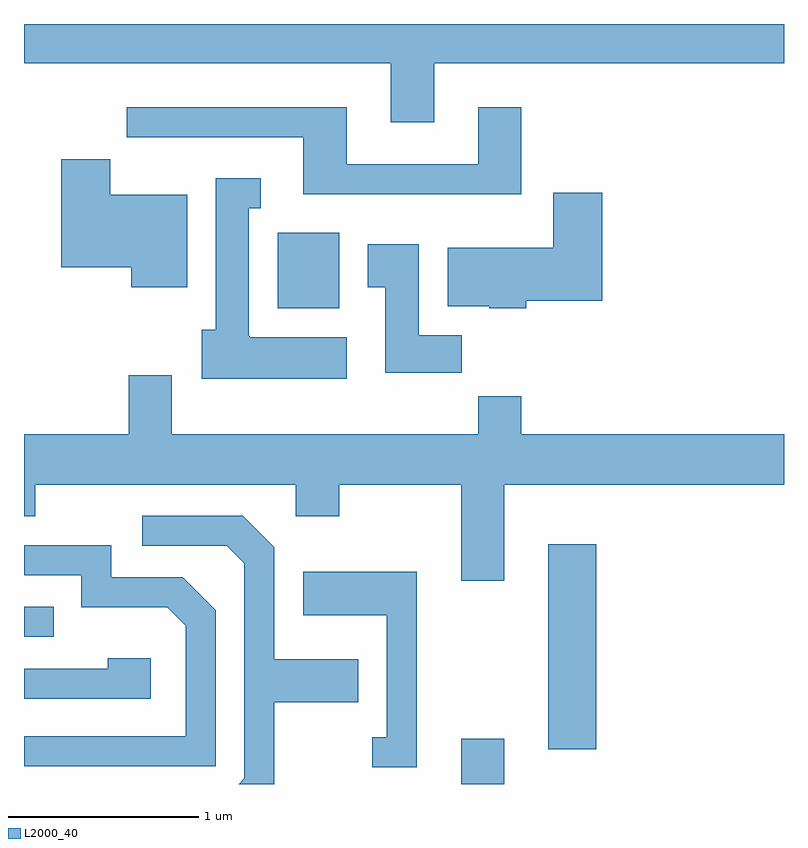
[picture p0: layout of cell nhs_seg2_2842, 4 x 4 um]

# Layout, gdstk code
import gdstk
lib = gdstk.Library(unit=1e-6, precision=1e-09)
def R(c, l, rs):  # rectangles x0, y0, x1, y1
    for r in rs: c.add(gdstk.rectangle(r[:2], r[2:], *l))
def P(c, l, *ps):  # polygons
    for p in ps: c.add(gdstk.Polygon(p, *l))
L2000_40 = (2000, 40)

nhs_seg2_2842 = lib.new_cell('nhs_seg2_2842')
R(nhs_seg2_2842, L2000_40, [(269.911,1097.802,270.139,1098.039), (270.371,1097.986,270.624,1099.064), (267.611,1098.576,267.768,1098.734), (268.946,1100.306,269.269,1100.704)])
P(nhs_seg2_2842, L2000_40, [(269.769,1101.596),(271.611,1101.596),(271.611,1101.802),(267.611,1101.802),(267.611,1101.596),(269.541,1101.596),(269.541,1101.286),(269.769,1101.286)],
  [(270.229,1101.364),(270.001,1101.364),(270.001,1101.064),(269.309,1101.064),(269.309,1101.364),(268.153,1101.364),(268.153,1101.206),(269.081,1101.206),(269.081,1100.906),(270.229,1100.906)],
  [(268.469,1100.904),(268.064,1100.904),(268.064,1101.089),(267.806,1101.089),(267.806,1100.521),(268.176,1100.521),(268.176,1100.416),(268.469,1100.416)],
  [(269.309,1100.154),(268.8,1100.154),(268.8,1100.16),(268.794,1100.16),(268.794,1100.831),(268.858,1100.831),(268.858,1100.989),(268.621,1100.989),(268.621,1100.194),(268.546,1100.194),(268.546,1099.936),(269.309,1099.936)],
  [(270.254,1100.346),(270.654,1100.346),(270.654,1100.914),(270.396,1100.914),(270.396,1100.624),(269.841,1100.624),(269.841,1100.316),(270.06,1100.316),(270.06,1100.306),(270.254,1100.306)],
  [(269.914,1100.164),(269.689,1100.164),(269.689,1100.644),(269.421,1100.644),(269.421,1100.416),(269.511,1100.416),(269.511,1099.966),(269.914,1099.966)],
  [(270.139,1099.376),(271.611,1099.376),(271.611,1099.644),(270.229,1099.644),(270.229,1099.844),(270.001,1099.844),(270.001,1099.644),(268.389,1099.644),(268.389,1099.954),(268.161,1099.954),(268.161,1099.644),(267.611,1099.644),(267.611,1099.211),(267.669,1099.211),(267.669,1099.376),(269.041,1099.376),(269.041,1099.211),(269.269,1099.211),(269.269,1099.376),(269.911,1099.376),(269.911,1098.871),(270.139,1098.871)],
  [(268.929,1098.231),(269.369,1098.231),(269.369,1098.459),(268.929,1098.459),(268.929,1099.047),(268.762,1099.214),(268.233,1099.214),(268.233,1099.056),(268.679,1099.056),(268.771,1098.964),(268.771,1097.832),(268.741,1097.802),(268.929,1097.802)],
  [(268.619,1098.717),(268.447,1098.889),(268.069,1098.889),(268.069,1099.059),(267.611,1099.059),(267.611,1098.901),(267.911,1098.901),(267.911,1098.731),(268.364,1098.731),(268.461,1098.634),(268.461,1098.054),(267.611,1098.054),(267.611,1097.896),(268.619,1097.896)],
  [(269.679,1098.919),(269.081,1098.919),(269.081,1098.691),(269.521,1098.691),(269.521,1098.049),(269.443,1098.049),(269.443,1097.891),(269.679,1097.891)],
  [(268.279,1098.464),(268.051,1098.464),(268.051,1098.409),(267.611,1098.409),(267.611,1098.251),(268.279,1098.251)])

lib.write_gds('nhs_seg2_2842.gds')
